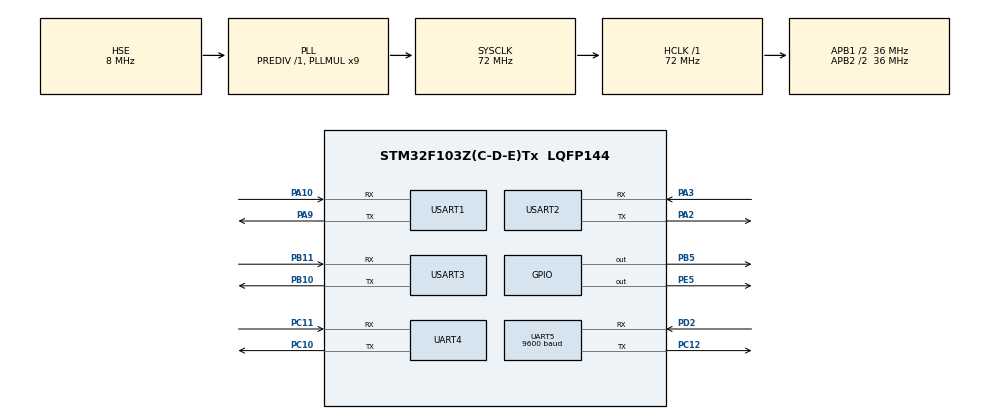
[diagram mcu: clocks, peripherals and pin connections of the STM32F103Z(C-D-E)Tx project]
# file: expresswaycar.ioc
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Dma.Request0=USART2_RX
Dma.USART2_RX.0.Direction=DMA_PERIPH_TO_MEMORY
Dma.USART2_RX.0.Instance=DMA1_Channel6
Dma.USART2_RX.0.MemDataAlignment=DMA_MDATAALIGN_BYTE
Dma.USART2_RX.0.MemInc=DMA_MINC_ENABLE
Dma.USART2_RX.0.Mode=DMA_NORMAL
Dma.USART2_RX.0.PeriphDataAlignment=DMA_PDATAALIGN_BYTE
Dma.USART2_RX.0.PeriphInc=DMA_PINC_DISABLE
Dma.USART2_RX.0.Priority=DMA_PRIORITY_HIGH
FREERTOS.Tasks01=defaultTask,0,128,StartDefaultTask,Default,NULL,Dynamic,NULL,NULL
Mcu.Family=STM32F1
Mcu.Name=STM32F103Z(C-D-E)Tx
Mcu.Package=LQFP144
NVIC.DMA1_Channel6_IRQn=true\:5\:0\:false\:false\:true\:true\:false\:true\:true
NVIC.PriorityGroup=NVIC_PRIORITYGROUP_4
NVIC.UART4_IRQn=true\:5\:0\:false\:false\:true\:true\:true\:true\:true
NVIC.UART5_IRQn=true\:5\:0\:false\:false\:true\:true\:true\:true\:true
NVIC.USART1_IRQn=true\:5\:0\:false\:false\:true\:true\:true\:true\:true
NVIC.USART2_IRQn=true\:5\:0\:false\:false\:true\:true\:true\:true\:true
NVIC.USART3_IRQn=true\:5\:0\:false\:false\:true\:true\:true\:true\:true
OSC_IN.Mode=HSE-External-Oscillator
OSC_IN.Signal=RCC_OSC_IN
OSC_OUT.Mode=HSE-External-Oscillator
OSC_OUT.Signal=RCC_OSC_OUT
PA10.Mode=Asynchronous
PA10.Signal=USART1_RX
PA13.Mode=Serial_Wire
PA13.Signal=SYS_JTMS-SWDIO
PA14.Mode=Serial_Wire
PA14.Signal=SYS_JTCK-SWCLK
PA2.Mode=Asynchronous
PA2.Signal=USART2_TX
PA3.Mode=Asynchronous
PA3.Signal=USART2_RX
PA9.Mode=Asynchronous
PA9.Signal=USART1_TX
PB10.Mode=Asynchronous
PB10.Signal=USART3_TX
PB11.Mode=Asynchronous
PB11.Signal=USART3_RX
PB5.GPIO_ModeDefaultOutputPP=GPIO_MODE_OUTPUT_PP
PB5.GPIO_PuPd=GPIO_NOPULL
PB5.GPIO_Speed=GPIO_SPEED_FREQ_HIGH
PB5.PinState=GPIO_PIN_SET
PB5.Signal=GPIO_Output
PC10.Mode=Asynchronous
PC10.Signal=UART4_TX
PC11.Mode=Asynchronous
PC11.Signal=UART4_RX
PC12.Mode=Asynchronous
PC12.Signal=UART5_TX
PD2.Mode=Asynchronous
PD2.Signal=UART5_RX
PE5.GPIO_ModeDefaultOutputPP=GPIO_MODE_OUTPUT_PP
PE5.GPIO_PuPd=GPIO_NOPULL
PE5.GPIO_Speed=GPIO_SPEED_FREQ_HIGH
PE5.PinState=GPIO_PIN_SET
PE5.Signal=GPIO_Output
ProjectManager.HeapSize=0x200
ProjectManager.StackSize=0x400
ProjectManager.TargetToolchain=MDK-ARM V5.32
RCC.AHBFreq_Value=72000000
RCC.APB1CLKDivider=RCC_HCLK_DIV2
RCC.APB1Freq_Value=36000000
RCC.APB1TimFreq_Value=72000000
RCC.APB2CLKDivider=RCC_HCLK_DIV2
RCC.APB2Freq_Value=36000000
RCC.APB2TimFreq_Value=72000000
RCC.HCLKFreq_Value=72000000
RCC.PLLMUL=RCC_PLL_MUL9
RCC.PLLSourceVirtual=RCC_PLLSOURCE_HSE
RCC.SYSCLKFreq_VALUE=72000000
RCC.SYSCLKSource=RCC_SYSCLKSOURCE_PLLCLK
RCC.USBFreq_Value=72000000
UART4.VirtualMode=Asynchronous
UART5.BaudRate=9600
UART5.VirtualMode=Asynchronous
USART1.VirtualMode=VM_ASYNC
USART2.VirtualMode=VM_ASYNC
USART3.VirtualMode=VM_ASYNC
VP_FREERTOS_VS_CMSIS_V1.Mode=CMSIS_V1
board=custom

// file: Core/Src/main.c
/* USER CODE BEGIN Header */
/**
  ******************************************************************************
  * @file           : main.c
  * @brief          : Main program body
  ******************************************************************************
  * @attention
  *
  * Copyright (c) 2024 STMicroelectronics.
  * All rights reserved.
  *
  * This software is licensed under terms that can be found in the LICENSE file
  * in the root directory of this software component.
  * If no LICENSE file comes with this software, it is provided AS-IS.
  *
  ******************************************************************************
  */
/* USER CODE END Header */
#include "main.h"
#include "cmsis_os.h"
#include "dma.h"
#include "usart.h"
#include "gpio.h"

/* USER CODE BEGIN Includes */
#include "head_file.h"
#include "vision_task.h"
#include "robot_communication.h"
/* USER CODE END Includes */

void SystemClock_Config(void);
void MX_FREERTOS_Init(void);

int main(void)
{

  /* MCU Configuration--------------------------------------------------------*/

  /* Reset of all peripherals, Initializes the Flash interface and the Systick. */
  HAL_Init();

  /* Configure the system clock */
  SystemClock_Config();

  /* Initialize all configured peripherals */
  MX_GPIO_Init();
  MX_DMA_Init();
  MX_UART4_Init();
  MX_USART2_UART_Init();
  MX_USART3_UART_Init();
  MX_UART5_Init();
  MX_USART1_UART_Init();
  /* USER CODE BEGIN 2 */
  robot_com_task_init();
  serial_screen_init();
  OPS9_init();
  auto_screen_task_init();
  /* USER CODE END 2 */

  /* Call init function for freertos objects (in cmsis_os2.c) */
  MX_FREERTOS_Init();

  /* Start scheduler */
  osKernelStart();

  /* We should never get here as control is now taken by the scheduler */

  /* Infinite loop */
  while (1)
  {

  }
}

void SystemClock_Config(void)
{
  RCC_OscInitTypeDef RCC_OscInitStruct = {0};
  RCC_ClkInitTypeDef RCC_ClkInitStruct = {0};

  /** Initializes the RCC Oscillators according to the specified parameters
  * in the RCC_OscInitTypeDef structure.
  */
  RCC_OscInitStruct.OscillatorType = RCC_OSCILLATORTYPE_HSE;
  RCC_OscInitStruct.HSEState = RCC_HSE_ON;
  RCC_OscInitStruct.HSEPredivValue = RCC_HSE_PREDIV_DIV1;
  RCC_OscInitStruct.HSIState = RCC_HSI_ON;
  RCC_OscInitStruct.PLL.PLLState = RCC_PLL_ON;
  RCC_OscInitStruct.PLL.PLLSource = RCC_PLLSOURCE_HSE;
  RCC_OscInitStruct.PLL.PLLMUL = RCC_PLL_MUL9;
  if (HAL_RCC_OscConfig(&RCC_OscInitStruct) != HAL_OK)
  {
    Error_Handler();
  }

  /** Initializes the CPU, AHB and APB buses clocks
  */
  RCC_ClkInitStruct.ClockType = RCC_CLOCKTYPE_HCLK|RCC_CLOCKTYPE_SYSCLK
                              |RCC_CLOCKTYPE_PCLK1|RCC_CLOCKTYPE_PCLK2;
  RCC_ClkInitStruct.SYSCLKSource = RCC_SYSCLKSOURCE_PLLCLK;
  RCC_ClkInitStruct.AHBCLKDivider = RCC_SYSCLK_DIV1;
  RCC_ClkInitStruct.APB1CLKDivider = RCC_HCLK_DIV2;
  RCC_ClkInitStruct.APB2CLKDivider = RCC_HCLK_DIV2;

  if (HAL_RCC_ClockConfig(&RCC_ClkInitStruct, FLASH_LATENCY_2) != HAL_OK)
  {
    Error_Handler();
  }
}

void Error_Handler(void)
{
  __disable_irq();
  while (1)
  {
  }
}

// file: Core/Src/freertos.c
/* USER CODE BEGIN Header */
/**
  ******************************************************************************
  * File Name          : freertos.c
  * Description        : Code for freertos applications
  ******************************************************************************
  * @attention
  *
  * Copyright (c) 2024 STMicroelectronics.
  * All rights reserved.
  *
  * This software is licensed under terms that can be found in the LICENSE file
  * in the root directory of this software component.
  * If no LICENSE file comes with this software, it is provided AS-IS.
  *
  ******************************************************************************
  */
/* USER CODE END Header */

#include "FreeRTOS.h"
#include "task.h"
#include "main.h"
#include "cmsis_os.h"

/* USER CODE BEGIN Includes */
#include "head_file.h"
#include "chassis_task.h"
#include "auto_task.h"
/* USER CODE END Includes */

osThreadId defaultTaskHandle;

/* USER CODE BEGIN FunctionPrototypes */
osThreadId motorTaskHandle;
osThreadId chassisTaskHandle;
//osThreadId INSTaskHandle;
osThreadId gimbalTaskHandle;
osThreadId autoTaskHandle;
/* USER CODE END FunctionPrototypes */

void StartDefaultTask(void const * argument);

void MX_FREERTOS_Init(void); /* (MISRA C 2004 rule 8.1) */

/* GetIdleTaskMemory prototype (linked to static allocation support) */
void vApplicationGetIdleTaskMemory( StaticTask_t **ppxIdleTaskTCBBuffer, StackType_t **ppxIdleTaskStackBuffer, uint32_t *pulIdleTaskStackSize );

/* USER CODE BEGIN GET_IDLE_TASK_MEMORY */
static StaticTask_t xIdleTaskTCBBuffer;
static StackType_t xIdleStack[configMINIMAL_STACK_SIZE];

void vApplicationGetIdleTaskMemory( StaticTask_t **ppxIdleTaskTCBBuffer, StackType_t **ppxIdleTaskStackBuffer, uint32_t *pulIdleTaskStackSize )
{
  *ppxIdleTaskTCBBuffer = &xIdleTaskTCBBuffer;
  *ppxIdleTaskStackBuffer = &xIdleStack[0];
  *pulIdleTaskStackSize = configMINIMAL_STACK_SIZE;
  /* place for user code */
}
/* USER CODE END GET_IDLE_TASK_MEMORY */

void MX_FREERTOS_Init(void) {

  /* Create the thread(s) */
  /* definition and creation of defaultTask */
  osThreadDef(defaultTask, StartDefaultTask, osPriorityNormal, 0, 128);
  defaultTaskHandle = osThreadCreate(osThread(defaultTask), NULL);

  /* USER CODE BEGIN RTOS_THREADS */
  /* add threads, ... */
	osThreadDef(motorTask, Motor_Task, osPriorityNormal, 0, 128);
  motorTaskHandle = osThreadCreate(osThread(motorTask), NULL);

	osThreadDef(chassisTask, Chassis_task, osPriorityNormal, 0, 128);
  chassisTaskHandle = osThreadCreate(osThread(chassisTask), NULL);

//	osThreadDef(gimbalTask, Gimbal_task, osPriorityNormal, 0, 128);
//  gimbalTaskHandle = osThreadCreate(osThread(gimbalTask), NULL);

//	osThreadDef(INSTask, INS_task, osPriorityNormal, 0, 128);
//  INSTaskHandle = osThreadCreate(osThread(INSTask), NULL);

	osThreadDef(autoTask, Auto_task, osPriorityNormal, 0, 128);
  autoTaskHandle = osThreadCreate(osThread(autoTask), NULL);
  /* USER CODE END RTOS_THREADS */

}

void StartDefaultTask(void const * argument)
{
  /* USER CODE BEGIN StartDefaultTask */
  /* Infinite loop */
  for(;;)
  {
	HAL_GPIO_WritePin(GPIOB, GPIO_PIN_5, (GPIO_PinState)!get_chassis_state(0));		//pos_state
	HAL_GPIO_WritePin(GPIOE, GPIO_PIN_5, (GPIO_PinState)!get_chassis_state(1));		//angle_state
    vTaskDelay(100);
  }
  /* USER CODE END StartDefaultTask */
}
